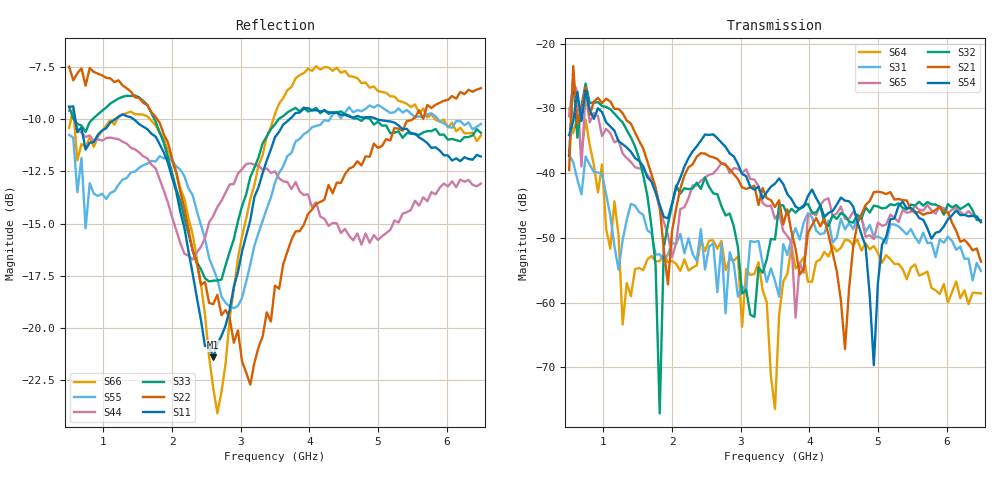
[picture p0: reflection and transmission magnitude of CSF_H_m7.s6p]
!Keysight Technologies,M9804A,MY58100912,A.14.10.03
!Date: Thursday, April 27, 2023 10:28:33
!Correction: S11(C  6-Port  )
!S12(C  6-Port  )
!S13(C  6-Port  )
!S14(C  6-Port  )
!S15(C  6-Port  )
!S16(C  6-Port  )
!S21(C  6-Port  )
!S22(C  6-Port  )
!S23(C  6-Port  )
!S24(C  6-Port  )
!S25(C  6-Port  )
!S26(C  6-Port  )
!S31(C  6-Port  )
!S32(C  6-Port  )
!S33(C  6-Port  )
!S34(C  6-Port  )
!S35(C  6-Port  )
!S36(C  6-Port  )
!S41(C  6-Port  )
!S42(C  6-Port  )
!S43(C  6-Port  )
!S44(C  6-Port  )
!S45(C  6-Port  )
!S46(C  6-Port  )
!S51(C  6-Port  )
!S52(C  6-Port  )
!S53(C  6-Port  )
!S54(C  6-Port  )
!S55(C  6-Port  )
!S56(C  6-Port  )
!S61(C  6-Port  )
!S62(C  6-Port  )
!S63(C  6-Port  )
!S64(C  6-Port  )
!S65(C  6-Port  )
!S66(C  6-Port  )
!S6P File: Measurement: :
# Hz S  RI  R 50
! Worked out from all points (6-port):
!   101 points, 500 MHz to 6.5 GHz, reference 50 ohm
!   strongest paths, dB at 500 MHz, 2 GHz, 3.5 GHz, 5 GHz, 6.5 GHz:
!     S54: -34.1, -44.7, -41.6, -56.9, -47.5
!     S21: -39.5, -48.9, -45.2, -42.9, -53.7
!     S32: -37.3, -44.9, -50.2, -45.1, -47.3
!     S65: -31.2, -53.0, -47.1, -47.6, -47.6
!     S31: -37.1, -50.8, -56.6, -49.8, -55.1
!     S64: -30.0, -53.5, -76.4, -52.3, -58.6
!   lowest |S11| = -21.4 dB at 2.6 GHz (marker M1), VSWR 1.19, Z = 42.4 + j2.2 ohm
!   |S11| at or under -10 dB: 589.6 MHz to 1.169 GHz (579.6 MHz wide, 65.9 % of centre); 1.439 GHz to 3.713 GHz (2.274 GHz wide, 88.3 % of centre); 4.983 GHz to end of sweep
